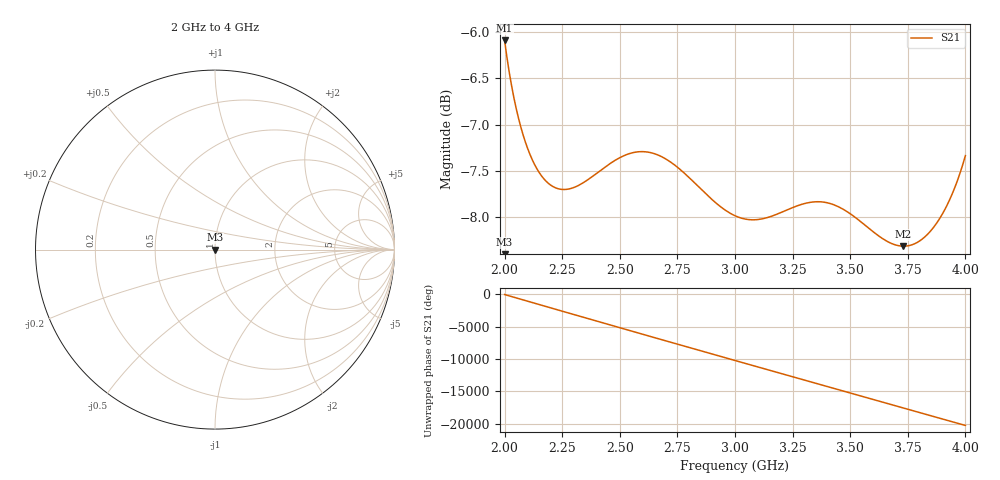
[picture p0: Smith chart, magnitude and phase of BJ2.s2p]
!Keysight Technologies,P9374A,MY57212427,A.14.10.08
!Date: Wednesday, July 20, 2022 15:56:04
!Correction: S11(Off)
!S21(Off)
!S12(Off)
!S22(Off)
!S2P File: Measurement: :
# Hz S  dB  R 50
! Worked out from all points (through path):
!   201 points, 2 GHz to 4 GHz, reference 50 ohm
!   highest |S21| = -6.09 dB at 2 GHz (marker M1); lowest = -8.3 dB at 3.73 GHz (marker M2)
!   lowest |S11| = - dB at 2 GHz (marker M3), VSWR 1.00, Z = 50 + j2.33e-10 ohm
!   |S11| at or under -10 dB: start of sweep to end of sweep
!   S12 and S22 are empty: the file has one direction only
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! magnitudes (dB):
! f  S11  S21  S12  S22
! 2 GHz  -  -6.1  -  -
! 2.03 GHz  -  -6.6  -  -
! 2.06 GHz  -  -6.9  -  -
! 2.1 GHz  -  -7.3  -  -
! 2.14 GHz  -  -7.5  -  -
! 2.18 GHz  -  -7.6  -  -
! 2.23 GHz  -  -7.7  -  -
! 2.28 GHz  -  -7.7  -  -
! 2.34 GHz  -  -7.6  -  -
! 2.53 GHz  -  -7.3  -  -
! 2.6 GHz  -  -7.3  -  -
! 2.67 GHz  -  -7.3  -  -
! 3 GHz  -  -8.0  -  -
! 3.11 GHz  -  -8.0  -  -
! 3.34 GHz  -  -7.8  -  -
! 3.46 GHz  -  -7.9  -  -
! 3.67 GHz  -  -8.3  -  -
! 3.73 GHz  -  -8.3  -  -
! 3.81 GHz  -  -8.2  -  -
! 3.88 GHz  -  -8.0  -  -
! 3.94 GHz  -  -7.8  -  -
! 4 GHz  -  -7.3  -  -
